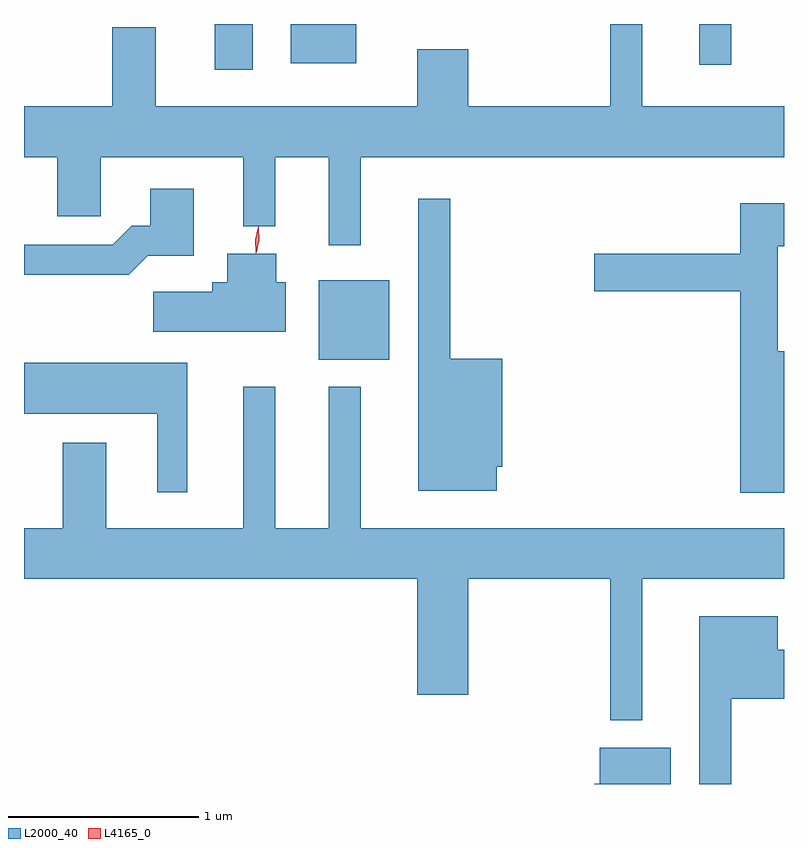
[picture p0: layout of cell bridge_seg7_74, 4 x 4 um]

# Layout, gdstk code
import gdstk
lib = gdstk.Library(unit=1e-6, precision=1e-09)
def R(c, l, rs):  # rectangles x0, y0, x1, y1
    for r in rs: c.add(gdstk.rectangle(r[:2], r[2:], *l))
def P(c, l, *ps):  # polygons
    for p in ps: c.add(gdstk.Polygon(p, *l))
L2000_40 = (2000, 40)
L4165_0 = (4165, 0)

bridge_seg7_74 = lib.new_cell('bridge_seg7_74')
R(bridge_seg7_74, L2000_40, [(1653.116,1742.111,1653.489,1742.529), (1652.571,1743.636,1652.769,1743.877), (1655.121,1743.663,1655.289,1743.877), (1652.971,1743.671,1653.314,1743.877)])
P(bridge_seg7_74, L2000_40, [(1653.339,1743.176),(1655.566,1743.176),(1655.566,1743.444),(1654.819,1743.444),(1654.819,1743.877),(1654.651,1743.877),(1654.651,1743.444),(1653.904,1743.444),(1653.904,1743.744),(1653.636,1743.744),(1653.636,1743.444),(1652.259,1743.444),(1652.259,1743.859),(1652.031,1743.859),(1652.031,1743.444),(1651.566,1743.444),(1651.566,1743.176),(1651.741,1743.176),(1651.741,1742.866),(1651.969,1742.866),(1651.969,1743.176),(1652.721,1743.176),(1652.721,1742.813),(1652.889,1742.813),(1652.889,1743.176),(1653.171,1743.176),(1653.171,1742.713),(1653.339,1742.713)],
  [(1652.217,1742.656),(1652.459,1742.656),(1652.459,1743.009),(1652.231,1743.009),(1652.231,1742.814),(1652.134,1742.814),(1652.034,1742.714),(1651.566,1742.714),(1651.566,1742.556),(1652.117,1742.556)],
  [(1654.054,1741.546),(1654.084,1741.546),(1654.084,1742.114),(1653.809,1742.114),(1653.809,1742.958),(1653.641,1742.958),(1653.641,1741.421),(1654.054,1741.421)],
  [(1655.566,1742.154),(1655.534,1742.154),(1655.534,1742.706),(1655.566,1742.706),(1655.566,1742.934),(1655.336,1742.934),(1655.336,1742.669),(1654.566,1742.669),(1654.566,1742.471),(1655.336,1742.471),(1655.336,1741.411),(1655.566,1741.411)],
  [(1652.944,1742.519),(1652.894,1742.519),(1652.894,1742.669),(1652.636,1742.669),(1652.636,1742.519),(1652.556,1742.519),(1652.556,1742.469),(1652.246,1742.469),(1652.246,1742.256),(1652.944,1742.256)],
  [(1652.424,1742.094),(1651.566,1742.094),(1651.566,1741.826),(1652.266,1741.826),(1652.266,1741.413),(1652.424,1741.413)],
  [(1654.819,1740.956),(1655.566,1740.956),(1655.566,1741.224),(1653.339,1741.224),(1653.339,1741.968),(1653.171,1741.968),(1653.171,1741.224),(1652.889,1741.224),(1652.889,1741.968),(1652.721,1741.968),(1652.721,1741.224),(1651.999,1741.224),(1651.999,1741.674),(1651.771,1741.674),(1651.771,1741.224),(1651.566,1741.224),(1651.566,1740.956),(1653.636,1740.956),(1653.636,1740.346),(1653.904,1740.346),(1653.904,1740.956),(1654.651,1740.956),(1654.651,1740.213),(1654.819,1740.213)],
  [(1655.289,1740.326),(1655.566,1740.326),(1655.566,1740.584),(1655.534,1740.584),(1655.534,1740.759),(1655.121,1740.759),(1655.121,1739.877),(1655.289,1739.877)],
  [(1654.969,1740.069),(1654.596,1740.069),(1654.596,1739.879),(1654.566,1739.879),(1654.566,1739.877),(1654.969,1739.877)])
P(bridge_seg7_74, L4165_0, [(1652.788,1742.673),(1652.787,1742.674),(1652.784,1742.742),(1652.8,1742.809),(1652.801,1742.809),(1652.801,1742.809),(1652.804,1742.74),(1652.788,1742.674)],
  [(1652.79,1742.677),(1652.79,1742.678),(1652.785,1742.743),(1652.8,1742.806),(1652.801,1742.806),(1652.801,1742.806),(1652.805,1742.741),(1652.79,1742.678)])

lib.write_gds('bridge_seg7_74.gds')
